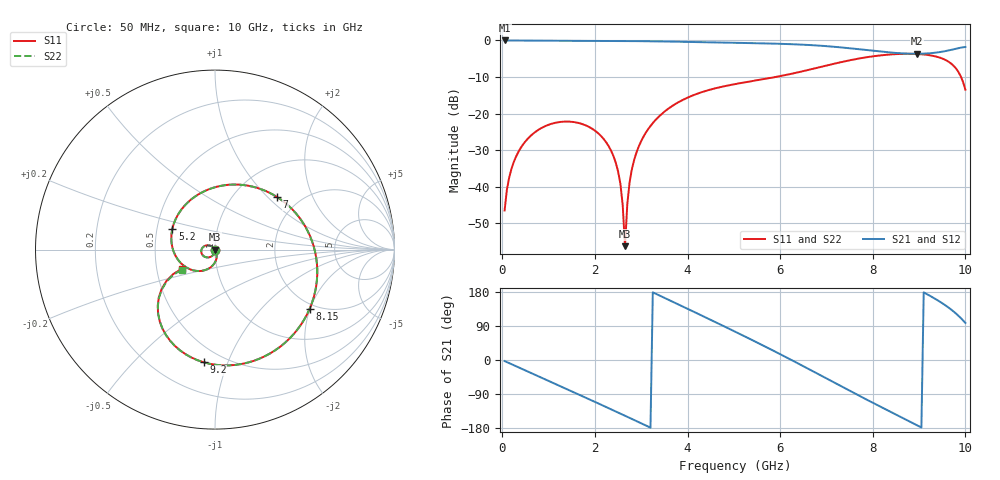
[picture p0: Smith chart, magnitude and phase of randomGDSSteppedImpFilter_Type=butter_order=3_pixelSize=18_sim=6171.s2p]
! freq	dB(S11)	phase(S11)	dB(S12)	phase(S12)
!  dB(S21)	phase(S21)	dB(S22)	phase(S22)
!S-par simulation data
#  GHz  S  DB  R 50
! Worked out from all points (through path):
!   200 points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, 50 MHz to 10 GHz, reference 50 ohm
!   highest |S21| = -0.02 dB at 50 MHz (marker M1); lowest = -3.7 dB at 8.95 GHz (marker M2)
!   group delay of S21, straight-line fit = 168 ps
!   lowest |S11| = -56.2 dB at 2.65 GHz (marker M3), VSWR 1.00, Z = 50.1 + j0.0532 ohm
!   |S11| at or under -10 dB: start of sweep to 5.905 GHz; 9.906 GHz to end of sweep
!   |S22| runs from -58.3 to -3.7 dB; largest |S21 - S12| = 0
!   S11 on the Smith chart (normalised r, x): 50 MHz: 1.00, -0.01; 5.2 GHz: 0.60, +0.15; 7 GHz: 1.54, +1.14; 8.15 GHz: 1.85, -1.99; 9.2 GHz: 0.39, -0.82; 10 GHz: 0.68, -0.15
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0.05  -46.48 -75.3  -0.02 -2.8  -0.02 -2.8  -46.48 -75.3
0.2  -35.02 -96.2  -0.03 -11.1  -0.03 -11.1  -35.02 -96.2
0.55  -26.88 -119.9  -0.06 -30.4  -0.06 -30.4  -26.88 -119.9
1.75  -22.97 172.0  -0.13 -96.6  -0.13 -96.6  -22.97 172.3
2.45  -33.41 130.8  -0.16 -135.8  -0.16 -135.8  -33.42 132.1
2.6  -45.01 114.3  -0.17 -144.3  -0.17 -144.3  -45.13 119.7
2.65  -56.25 20.2  -0.18 -147.1  -0.18 -147.1  -58.30 7.1
2.7  -44.66 -49.8  -0.18 -149.9  -0.18 -149.9  -44.77 -55.6
2.85  -32.55 -66.7  -0.20 -158.5  -0.20 -158.5  -32.56 -68.1
3.4  -20.60 -100.1  -0.28 169.9  -0.28 169.9  -20.60 -100.5
4.3  -14.18 -152.6  -0.49 117.7  -0.49 117.7  -14.18 -152.8
5.05  -11.89 162.9  -0.67 73.4  -0.67 73.4  -11.89 162.8
5.2  -11.55 153.9  -0.70 64.5  -0.70 64.5  -11.55 153.7
6  -9.77 104.3  -0.93 15.4  -0.93 15.4  -9.77 104.2
6.7  -7.80 59.7  -1.32 -29.2  -1.32 -29.2  -7.80 59.6
7  -6.87 40.3  -1.57 -48.7  -1.57 -48.7  -6.87 40.2
8.15  -4.12 -32.0  -3.03 -122.2  -3.03 -122.2  -4.12 -32.1
8.35  -3.88 -44.1  -3.28 -134.6  -3.28 -134.6  -3.88 -44.2
8.95  -3.71 -80.1  -3.66 -171.9  -3.66 -171.9  -3.71 -80.3
9.2  -4.00 -95.8  -3.55 171.8  -3.55 171.8  -4.00 -95.9
9.7  -6.42 -131.6  -2.57 132.5  -2.57 132.5  -6.41 -131.4
10  -13.50 -150.0  -1.79 97.9  -1.79 97.9  -13.38 -148.8
